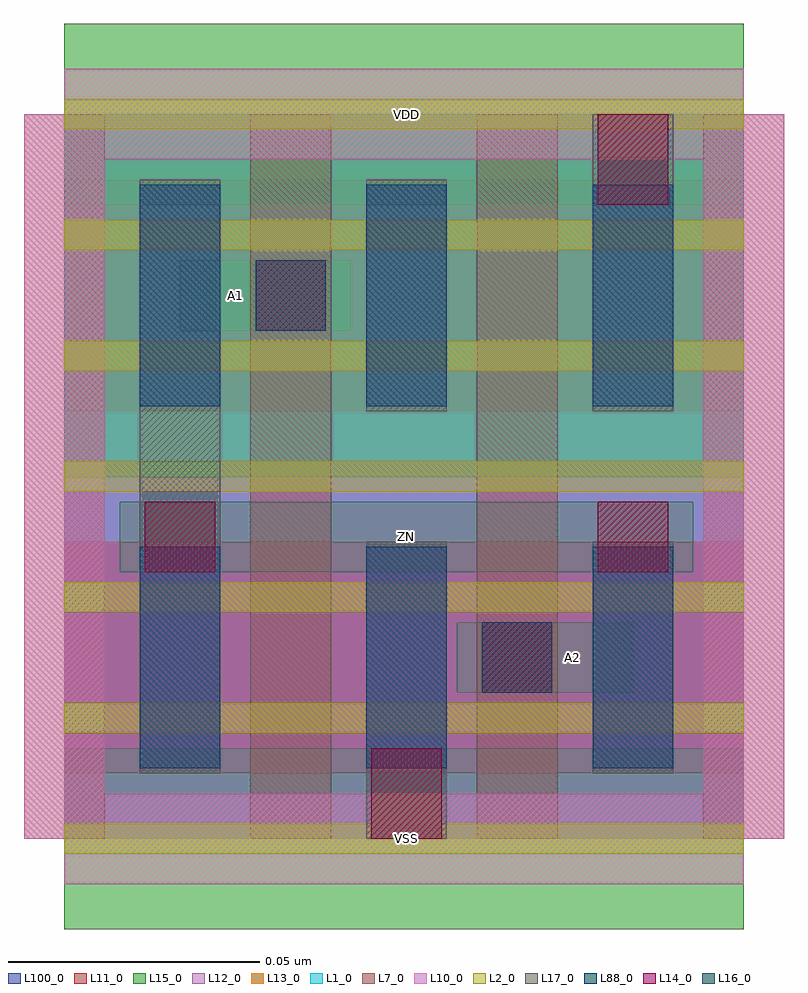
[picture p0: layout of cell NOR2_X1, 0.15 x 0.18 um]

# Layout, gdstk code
import gdstk
lib = gdstk.Library(unit=1e-6, precision=1e-09)
def R(c, l, rs):  # rectangles x0, y0, x1, y1
    for r in rs: c.add(gdstk.rectangle(r[:2], r[2:], *l))
def A(c, l, x, y, w, h, nx, ny, dx, dy):  # array of equal rectangles
    R(c, l, [(x+i*dx, y+j*dy, x+i*dx+w, y+j*dy+h) for i in range(nx) for j in range(ny)])
def P(c, l, *ps):  # polygons
    for p in ps: c.add(gdstk.Polygon(p, *l))
L1_0 = (1, 0)
L2_0 = (2, 0)
L7_0 = (7, 0)
L10_0 = (10, 0)
L11_0 = (11, 0)
L12_0 = (12, 0)
L13_0 = (13, 0)
L14_0 = (14, 0)
L15_0 = (15, 0)
L16_0 = (16, 0)
L17_0 = (17, 0)
L88_0 = (88, 0)
L100_0 = (100, 0)

nor2_x1 = lib.new_cell('NOR2_X1')
R(nor2_x1, L1_0, [(0,0.072,0.135,0.144)])
A(nor2_x1, L2_0, 0, -0.003, 0.135, 0.006, 1, 7, 0, 0.024)
A(nor2_x1, L7_0, -0.008, 0, 0.016, 0.144, 4, 1, 0.045, 0)
P(nor2_x1, L10_0, [(0,-0.009),(0,0),(-0.008,0),(-0.008,0.135),(0.008,0.135),(0.008,0.009),(0.127,0.009),(0.127,0.135),(-0.008,0.135),(-0.008,0.144),(0,0.144),(0,0.153),(0.135,0.153),(0.135,0.144),(0.143,0.144),(0.143,0),(0.135,0),(0.135,-0.009)])
R(nor2_x1, L11_0, [(0,0.013,0.135,0.059), (0,0.085,0.135,0.131)])
R(nor2_x1, L12_0, [(0,0,0.135,0.072)])
R(nor2_x1, L13_0, [(0,0.072,0.135,0.144)])
R(nor2_x1, L14_0, [(0.061,0,0.075,0.018), (0.083,0.029,0.097,0.043), (0.016,0.053,0.03,0.067), (0.106,0.053,0.12,0.067), (0.038,0.101,0.052,0.115), (0.106,0.126,0.12,0.144)])
R(nor2_x1, L15_0, [(0,-0.018,0.135,0.018), (0.078,0.029,0.113,0.043), (0.011,0.053,0.125,0.067), (0.023,0.101,0.057,0.115), (0,0.126,0.135,0.162)])
R(nor2_x1, L16_0, [(0.083,0.029,0.097,0.043), (0.038,0.101,0.052,0.115)])
R(nor2_x1, L17_0, [(0.06,0,0.076,0.059), (0.015,0.013,0.031,0.131), (0.105,0.013,0.121,0.059), (0.06,0.085,0.076,0.131), (0.105,0.085,0.121,0.144)])
A(nor2_x1, L88_0, 0.015, 0.014, 0.016, 0.044, 3, 2, 0.045, 0.072)
R(nor2_x1, L100_0, [(0,0,0.135,0.144)])
nor2_x1.add(gdstk.Label('A2', (0.101,0.036), layer=15, texttype=251))
nor2_x1.add(gdstk.Label('VSS', (0.068,0), layer=15, texttype=251))
nor2_x1.add(gdstk.Label('VDD', (0.068,0.144), layer=15, texttype=251))
nor2_x1.add(gdstk.Label('ZN', (0.068,0.06), layer=15, texttype=251))
nor2_x1.add(gdstk.Label('VSS', (0.068,0), layer=15, texttype=251))
nor2_x1.add(gdstk.Label('VDD', (0.068,0.144), layer=15, texttype=251))
nor2_x1.add(gdstk.Label('A1', (0.034,0.108), layer=15, texttype=251))
nor2_x1.add(gdstk.Label('VSS', (0.068,0), layer=15, texttype=251))
nor2_x1.add(gdstk.Label('VDD', (0.068,0.144), layer=15, texttype=251))
nor2_x1.add(gdstk.Label('VSS', (0.068,0), layer=3, texttype=251))
nor2_x1.add(gdstk.Label('VSS', (0.068,0), layer=3, texttype=251))
nor2_x1.add(gdstk.Label('VSS', (0.068,0), layer=3, texttype=251))
nor2_x1.add(gdstk.Label('VDD', (0.068,0.144), layer=1, texttype=251))
nor2_x1.add(gdstk.Label('VDD', (0.068,0.144), layer=1, texttype=251))
nor2_x1.add(gdstk.Label('VDD', (0.068,0.144), layer=1, texttype=251))

lib.write_gds('NOR2_X1.gds')
